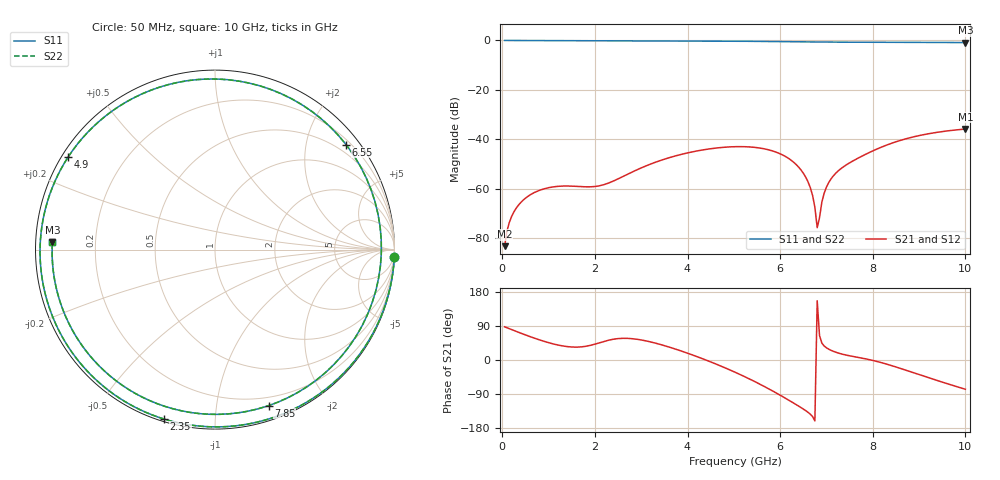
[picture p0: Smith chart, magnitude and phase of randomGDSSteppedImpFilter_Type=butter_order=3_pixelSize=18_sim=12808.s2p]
! freq	dB(S11)	phase(S11)	dB(S12)	phase(S12)
!  dB(S21)	phase(S21)	dB(S22)	phase(S22)
!S-par simulation data
#  GHz  S  DB  R 50
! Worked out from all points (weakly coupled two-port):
!   200 points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, 50 MHz to 10 GHz, reference 50 ohm
!   highest |S21| = -35.84 dB at 10 GHz (marker M1); lowest = -83.2 dB at 50 MHz (marker M2)
!   lowest |S11| = -0.8 dB at 10 GHz (marker M3), VSWR 20.49, Z = 2.44 + j1.11 ohm
!   |S11| at or under -10 dB: nowhere
!   |S22| runs from -0.8 to 0.0 dB; largest |S21 - S12| = 0
!   S11 on the Smith chart (normalised r, x): 50 MHz: 0, -46; 2.35 GHz: 0.01, -0.74; 4.9 GHz: 0.02, +0.29; 6.55 GHz: 0.30, +2.82; 7.85 GHz: 0.12, -1.39; 10 GHz: 0.05, +0.02
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0.05  -0.00 -2.5  -83.24 87.6  -83.24 87.6  -0.00 -2.5
0.25  -0.02 -12.3  -69.40 77.9  -69.40 77.9  -0.02 -12.3
0.6  -0.04 -29.2  -62.50 61.7  -62.50 61.7  -0.04 -29.2
1.2  -0.07 -57.3  -59.03 39.6  -59.03 39.6  -0.07 -57.3
1.75  -0.10 -81.7  -59.19 35.2  -59.19 35.2  -0.10 -81.7
2.35  -0.12 -106.7  -57.28 53.7  -57.28 53.7  -0.12 -106.8
3.4  -0.17 -148.3  -48.66 41.4  -48.66 41.4  -0.17 -148.4
4.2  -0.22 179.4  -44.72 9.1  -44.72 9.1  -0.22 179.2
4.9  -0.29 147.7  -43.08 -25.4  -43.08 -25.4  -0.29 147.4
5.05  -0.31 140.1  -42.97 -33.6  -42.97 -33.6  -0.31 139.8
5.9  -0.44 89.3  -45.11 -86.0  -45.11 -86.0  -0.44 88.8
6.3  -0.52 59.4  -49.42 -114.3  -49.42 -114.3  -0.53 58.7
6.55  -0.58 38.7  -55.26 -133.5  -55.26 -133.5  -0.58 37.9
6.7  -0.61 25.7  -62.68 -149.3  -62.68 -149.3  -0.61 24.9
6.8  -0.62 16.9  -75.75 156.3  -75.75 156.3  -0.63 16.1
6.95  -0.65 3.6  -61.83 37.0  -61.83 37.0  -0.65 2.8
7.1  -0.67 -9.7  -55.98 25.5  -55.98 25.5  -0.67 -10.5
7.5  -0.71 -43.9  -49.51 11.1  -49.51 11.1  -0.71 -44.7
7.85  -0.73 -71.1  -46.02 2.9  -46.02 2.9  -0.73 -71.8
8.35  -0.75 -104.4  -41.98 -12.7  -41.98 -12.7  -0.75 -105.0
9.15  -0.79 -146.7  -37.93 -44.5  -37.93 -44.5  -0.79 -147.0
10  -0.85 177.4  -35.84 -77.2  -35.84 -77.2  -0.85 177.2
